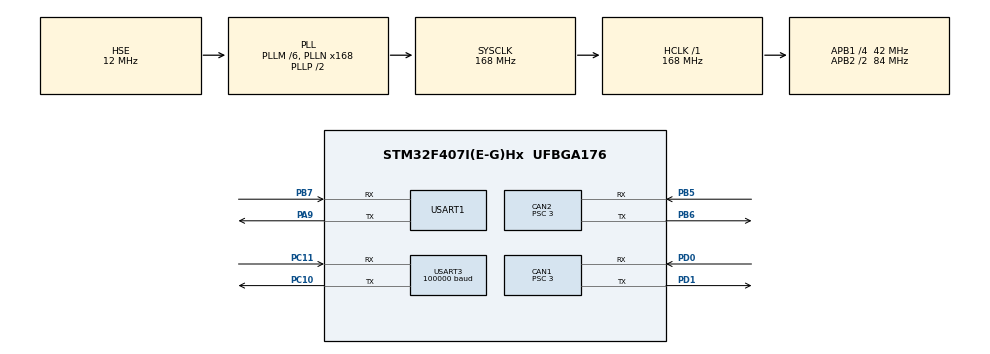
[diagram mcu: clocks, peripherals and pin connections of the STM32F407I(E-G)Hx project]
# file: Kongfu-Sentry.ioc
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CAN1.ABOM=ENABLE
CAN1.BS1=CAN_BS1_10TQ
CAN1.BS2=CAN_BS2_3TQ
CAN1.CalculateBaudRate=1000000
CAN1.CalculateTimeBit=1000
CAN1.CalculateTimeQuantum=71.42857142857143
CAN1.Prescaler=3
CAN2.BS1=CAN_BS1_10TQ
CAN2.BS2=CAN_BS2_3TQ
CAN2.CalculateBaudRate=1000000
CAN2.CalculateTimeBit=1000
CAN2.CalculateTimeQuantum=71.42857142857143
CAN2.Prescaler=3
Dma.Request0=USART3_RX
Dma.Request1=USART1_TX
Dma.Request2=USART1_RX
Dma.USART1_RX.2.Direction=DMA_PERIPH_TO_MEMORY
Dma.USART1_RX.2.FIFOMode=DMA_FIFOMODE_DISABLE
Dma.USART1_RX.2.Instance=DMA2_Stream2
Dma.USART1_RX.2.MemDataAlignment=DMA_MDATAALIGN_BYTE
Dma.USART1_RX.2.MemInc=DMA_MINC_ENABLE
Dma.USART1_RX.2.Mode=DMA_NORMAL
Dma.USART1_RX.2.PeriphDataAlignment=DMA_PDATAALIGN_BYTE
Dma.USART1_RX.2.PeriphInc=DMA_PINC_DISABLE
Dma.USART1_RX.2.Priority=DMA_PRIORITY_LOW
Dma.USART1_TX.1.Direction=DMA_MEMORY_TO_PERIPH
Dma.USART1_TX.1.FIFOMode=DMA_FIFOMODE_DISABLE
Dma.USART1_TX.1.Instance=DMA2_Stream7
Dma.USART1_TX.1.MemDataAlignment=DMA_MDATAALIGN_BYTE
Dma.USART1_TX.1.MemInc=DMA_MINC_ENABLE
Dma.USART1_TX.1.Mode=DMA_NORMAL
Dma.USART1_TX.1.PeriphDataAlignment=DMA_PDATAALIGN_BYTE
Dma.USART1_TX.1.PeriphInc=DMA_PINC_DISABLE
Dma.USART1_TX.1.Priority=DMA_PRIORITY_LOW
Dma.USART3_RX.0.Direction=DMA_PERIPH_TO_MEMORY
Dma.USART3_RX.0.FIFOMode=DMA_FIFOMODE_DISABLE
Dma.USART3_RX.0.Instance=DMA1_Stream1
Dma.USART3_RX.0.MemDataAlignment=DMA_MDATAALIGN_BYTE
Dma.USART3_RX.0.MemInc=DMA_MINC_ENABLE
Dma.USART3_RX.0.Mode=DMA_NORMAL
Dma.USART3_RX.0.PeriphDataAlignment=DMA_PDATAALIGN_BYTE
Dma.USART3_RX.0.PeriphInc=DMA_PINC_DISABLE
Dma.USART3_RX.0.Priority=DMA_PRIORITY_HIGH
Mcu.Family=STM32F4
Mcu.Name=STM32F407I(E-G)Hx
Mcu.Package=UFBGA176
NVIC.CAN1_RX0_IRQn=true\:0\:0\:false\:false\:true\:true\:true\:true
NVIC.CAN2_RX0_IRQn=true\:0\:0\:false\:false\:true\:true\:true\:true
NVIC.DMA1_Stream1_IRQn=true\:0\:0\:false\:false\:true\:false\:true\:true
NVIC.DMA2_Stream2_IRQn=true\:0\:0\:false\:false\:true\:false\:true\:true
NVIC.DMA2_Stream7_IRQn=true\:0\:0\:false\:false\:true\:false\:true\:true
NVIC.PriorityGroup=NVIC_PRIORITYGROUP_4
NVIC.USART1_IRQn=true\:0\:0\:false\:false\:true\:false\:true\:true
NVIC.USART3_IRQn=true\:0\:0\:false\:false\:true\:true\:true\:true
PA13.Mode=Serial_Wire
PA13.Signal=SYS_JTMS-SWDIO
PA14.Mode=Serial_Wire
PA14.Signal=SYS_JTCK-SWCLK
PA9.Mode=Asynchronous
PA9.Signal=USART1_TX
PB5.Mode=CAN_Activate
PB5.Signal=CAN2_RX
PB6.Mode=CAN_Activate
PB6.Signal=CAN2_TX
PB7.Mode=Asynchronous
PB7.Signal=USART1_RX
PC10.Mode=Asynchronous
PC10.Signal=USART3_TX
PC11.Mode=Asynchronous
PC11.Signal=USART3_RX
PD0.Mode=CAN_Activate
PD0.Signal=CAN1_RX
PD1.Mode=CAN_Activate
PD1.Signal=CAN1_TX
PH0-OSC_IN.Mode=HSE-External-Oscillator
PH0-OSC_IN.Signal=RCC_OSC_IN
PH1-OSC_OUT.Mode=HSE-External-Oscillator
PH1-OSC_OUT.Signal=RCC_OSC_OUT
ProjectManager.HeapSize=0x200
ProjectManager.StackSize=0x400
ProjectManager.TargetToolchain=MDK-ARM V5.32
RCC.48MHZClocksFreq_Value=84000000
RCC.AHBFreq_Value=168000000
RCC.APB1CLKDivider=RCC_HCLK_DIV4
RCC.APB1Freq_Value=42000000
RCC.APB1TimFreq_Value=84000000
RCC.APB2CLKDivider=RCC_HCLK_DIV2
RCC.APB2Freq_Value=84000000
RCC.APB2TimFreq_Value=168000000
RCC.CortexFreq_Value=168000000
RCC.HCLKFreq_Value=168000000
RCC.HSE_VALUE=12000000
RCC.HSI_VALUE=16000000
RCC.LSE_VALUE=32768
RCC.PLLM=6
RCC.PLLN=168
RCC.PLLSourceVirtual=RCC_PLLSOURCE_HSE
RCC.SYSCLKFreq_VALUE=168000000
RCC.SYSCLKSource=RCC_SYSCLKSOURCE_PLLCLK
RCC.VCOOutputFreq_Value=336000000
USART1.VirtualMode=VM_ASYNC
USART3.BaudRate=100000
USART3.Parity=PARITY_EVEN
USART3.StopBits=STOPBITS_2
USART3.VirtualMode=VM_ASYNC
USART3.WordLength=WORDLENGTH_9B
board=custom

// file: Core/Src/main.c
/* USER CODE BEGIN Header */
/**
  ******************************************************************************
  * @file           : main.c
  * @brief          : Main program body
  ******************************************************************************
  * @attention
  *
  * Copyright (c) 2024 STMicroelectronics.
  * All rights reserved.
  *
  * This software is licensed under terms that can be found in the LICENSE file
  * in the root directory of this software component.
  * If no LICENSE file comes with this software, it is provided AS-IS.
  *
  ******************************************************************************
  */
/* USER CODE END Header */
#include "main.h"
#include "can.h"
#include "dma.h"
#include "usart.h"
#include "gpio.h"

/* USER CODE BEGIN Includes */
#include "bsp_can.h"
#include "1_Middleware/1_Driver/CAN/drv_CAN_receive.h"
#include "1_Middleware/1_Driver/UART/drv_uart.h"
#include "2_Device/Serialplot/dvc_serialplot.h"
#include "1_Middleware/1_Driver/BSP/drv_bsp.h"
#include "1_Middleware/2_Algorithm/PID/alg_pid.h"

#include "2_Device/Remote_Control/remote_control.h"
#include "2_Device/Motor/dvc_motor.h"
#include "bsp_usart.h"
#include <stdio.h>
#include <stdarg.h>
#include "string.h"
/* USER CODE END Includes */

/* USER CODE BEGIN PV */
//uint8_t hello[5] = "hello";
extern uint8_t sbus_rx_buf[2][SBUS_RX_BUF_NUM];
Class_Serialplot serialplot;
Class_PID pid_omega;
Class_PID pid_omega_1;
Class_PID pid_omega_2;
Class_PID pid_omega_3;

// PID 角度环控制
Class_PID PID_Angle;
// PID 速度环控制
Class_PID PID_Omega;
// PID电流环控制
Class_PID PID_Current;

// 实例化电机
Class_Motor_GM6020  Motor_Pitch;
Class_Motor_GM6020  Motor_Yaw;
Class_Motor_DJI_C610 Motor_Driver;
Class_Motor_DJI_C620 Motor_Friction_Left;
Class_Motor_DJI_C620 Motor_Friction_Right;

float Rx_Omega[4];
float Rx_Torque[4];
float Rx_Encoder[4];
float Rx_Temperature[4];

float Now_Omega_0, Target_Omega_0;
float Now_Omega_1, Target_Omega_1;
float Now_Omega_2, Target_Omega_2;
float Now_Omega_3, Target_Omega_3;
float Now_Angle, Target_Angle;

float Target_Omega_c0, Target_Omega_c1, Target_Omega_c2, Target_Omega_c3;
float vx_set, vy_set, omega_set;
uint32_t Counter = 0;
int32_t Output_val_yaw, Output_val_pitch, Output_val_driver, Output_val_2,Output_val_3;
int32_t Output_val_friction_left, Output_val_friction_right;

float test_val = 0;
float Right_X, Right_Y, Left_X, Left_Y, Switch_1;
// 摇杆偏移量
float Rocker_Offset = 1011.0f;
// 开关偏移量
float Switch_Offset = 240.0f;
// 摇杆总刻度
float Rocker_Num = 783.5f;
// 开关总刻度
float Switch_Num = 1567.0f;
//地盘最大速度
float velocity_x_max = 10;
float velocity_y_max = 10;
float omega_max = 0.07;
float r_wheel_to_core = 228.73f;

// pitch轴最小值
float Min_Pitch_Angle = -0.50f;
// pitch轴最大值
float Max_Pitch_Angle = 0.5f;

// yaw轴目标角度
float Target_Yaw_Angle;

// pitch轴目标角度
float Target_Pitch_Angle;

extern float Current_To_Out;

const motor_measure_t *pitch_gimbal_motor_measure;
const motor_measure_t *yaw_gimbal_motor_measure;
const motor_measure_t *Motor_Driver_measure;
const motor_measure_t *frictoin_motor_measure_left;
const motor_measure_t *frictoin_motor_measure_right;

int16_t delta_encoder_yaw;
int16_t delta_encoder_pitch;
int16_t delta_encoder1;

uint16_t Encoder_Num_Per_Round = 8192;

int32_t Encoder_Offset = -3111;

float RPM_TO_RAD = 2.0f * PI / 60.0f;
float GEAR_RATE = 36.0f;
float GEAR_RATE_Friction = 3591.0f / 187.0f;

// 拨弹盘真实每秒子弹数
float Now_Ammo_Shoot_Frequency = 5.0f;

// 拨弹盘一圈子弹数
float Ammo_Num_Per_Round = 8.0f;

// 摩擦轮角速度
float Friction_Omega = 6.0f;

static char Variable_Assignment_List[][SERIALPLOT_RX_VARIABLE_ASSIGNMENT_MAX_LENGTH] = {
  "po",

	"po1",

	"po2",

	"po3",

};
/* USER CODE END PV */

void SystemClock_Config(void);

/* USER CODE BEGIN 0 */
const RC_ctrl_t *local_rc_ctrl;

void usart_printf(const char *fmt,...)
{
    static uint8_t tx_buf[256] = {0};
    static va_list ap;
    static uint16_t len;
    va_start(ap, fmt);

    //return length of string
    len = vsprintf((char *)tx_buf, fmt, ap);

    va_end(ap);

		HAL_UART_Transmit_DMA(&huart1, tx_buf, len);

}

void UART_Serialplot_Call_Back(uint8_t *Buffer, uint16_t Length)
{
  serialplot.UART_RxCpltCallback(Buffer);
  switch (serialplot.Get_Variable_Index())
  {
    case(0):
    {
      PID_Omega.Set_K_P(serialplot.Get_Variable_Value());
    }
    break;
		case(1):
    {
      pid_omega_1.Set_K_P(serialplot.Get_Variable_Value());
    }
    break;
		case(2):
    {
      pid_omega_2.Set_K_P(serialplot.Get_Variable_Value());
    }
    break;
		case(3):
    {
      pid_omega_3.Set_K_P(serialplot.Get_Variable_Value());
    }
    break;
  }

}

/* USER CODE END 0 */

int main(void)
{

  /* MCU Configuration--------------------------------------------------------*/

  /* Reset of all peripherals, Initializes the Flash interface and the Systick. */
  HAL_Init();

  /* Configure the system clock */
  SystemClock_Config();

  /* Initialize all configured peripherals */
  MX_GPIO_Init();
  MX_DMA_Init();
  MX_USART1_UART_Init();
  MX_USART3_UART_Init();
  MX_CAN1_Init();
  MX_CAN2_Init();
  /* USER CODE BEGIN 2 */
	  can_filter_init();
		UART_Init(&huart1, UART_Serialplot_Call_Back, SERIALPLOT_RX_VARIABLE_ASSIGNMENT_MAX_LENGTH);
    //PID_Omega.Init(0.03f, 0.3f, 0.0f, 0.0f, 3.0f, 3.0f);

		serialplot.Init(&huart1, 12, (char **)Variable_Assignment_List);

		remote_control_init();
    usart1_tx_dma_init();
		local_rc_ctrl = get_remote_control_point();

		// 电机初始化
		Motor_Pitch.Init(&hcan1, Motor_DJI_Control_Method_ANGLE, 25000 ,16384);
		Motor_Yaw.Init(&hcan1, Motor_DJI_Control_Method_ANGLE, 25000 ,16384);
    Motor_Driver.Init(&hcan1, Motor_DJI_Control_Method_OMEGA, GEAR_RATE ,16384);
    Motor_Friction_Left.Init(&hcan1, Motor_DJI_Control_Method_OMEGA, 0, 20);
    Motor_Friction_Right.Init(&hcan1, Motor_DJI_Control_Method_OMEGA, 0, 20);
		// PID初始化
		Motor_Yaw.PID_Angle.Init(7.0f, 0.0f, 0.0f, 0.0f, 2.0f * PI, 2.0f * PI);
    Motor_Yaw.PID_Omega.Init(0.366f, 0.916f, 0.0f, 0.0f, 3.0f, 3.0f);

    Motor_Pitch.PID_Angle.Init(7.0f, 0.0f, 0.0f, 0.0f, 2.0f * PI, 2.0f * PI);
    Motor_Pitch.PID_Omega.Init(0.366f, 0.916f, 0.0f, 0.0f, 3.0f, 3.0f);
    Motor_Driver.PID_Angle.Init(50.0f, 0.0f, 0.0f, 0.0f, 2.0f * PI, 2.0f * PI);
    Motor_Driver.PID_Omega.Init(3.40f, 200.0f, 0.0f, 0.0f, 10.0f, 10.0f);
    Motor_Friction_Left.PID_Omega.Init(0.15f, 0.3f, 0.002f, 0.0f, 10.0f, 10.0f);
    Motor_Friction_Right.PID_Omega.Init(0.15f, 0.3f, 0.002f, 0.0f, 10.0f, 10.0f);

  /* USER CODE END 2 */

  /* Infinite loop */
  while (1)
  {

    /* USER CODE BEGIN 3 */

		/*从遥控器读取数据*/
		Right_X = (local_rc_ctrl->rc.ch[0] -  Rocker_Offset) / Rocker_Num; /* 右侧左右 */
		Right_Y = (local_rc_ctrl->rc.ch[1] -  Rocker_Offset) / Rocker_Num; /* 右侧上下 */
		Left_Y = (local_rc_ctrl->rc.ch[2] -  Rocker_Offset) / Rocker_Num; /* 左侧上下 */
		Left_X = (local_rc_ctrl->rc.ch[3] -  Rocker_Offset) / Rocker_Num; /* 左侧左右 */
    Switch_1 = (local_rc_ctrl->rc.ch[4] - Switch_Offset) / Switch_Num;

		Counter++;
		// Target_Omega_0 = 10 * sin(6.0f * Counter / 1000.0f);
//		Motor_Yaw.Target_Omega = Target_Omega_0;
		// Motor_Yaw.Set_Target_Angle(PI * sin(2.0f * Counter / 1000.0f));
		Target_Yaw_Angle = (PI/2) * sin(2.0f * Counter / 1000.0f);
		float tmp_delta_angle = Target_Yaw_Angle - Motor_Yaw.Rx_Data.Now_Angle;
		Target_Yaw_Angle = Motor_Yaw.Get_Now_Angle() + tmp_delta_angle;
    Target_Pitch_Angle = Left_Y*Max_Pitch_Angle;
    Math_Constrain(&Target_Pitch_Angle, Min_Pitch_Angle, Max_Pitch_Angle);
    // float tmp_delta_angle = Target_Pitch_Angle - Motor_Pitch.Rx_Data.Now_Angle;
    // Target_Pitch_Angle = -Motor_Pitch.Get_Now_Angle() + tmp_delta_angle;
		Motor_Pitch.Set_Target_Angle(Target_Pitch_Angle);
		Motor_Yaw.Set_Target_Angle(Target_Yaw_Angle);
		// Motor_Driver.Set_Target_Angle(Motor_Driver.Get_Now_Angle() + 2.0f * PI / 8.0f);
		Motor_Driver.Set_Target_Omega(-(Now_Ammo_Shoot_Frequency * 2.0f * PI / Ammo_Num_Per_Round));
    Motor_Friction_Left.Set_Target_Omega(-Friction_Omega);
    Motor_Friction_Right.Set_Target_Omega(Friction_Omega);

			/*读取电机数据*/
		pitch_gimbal_motor_measure = get_pitch_gimbal_motor_measure_point();
    yaw_gimbal_motor_measure = get_yaw_gimbal_motor_measure_point();
    Motor_Driver_measure = get_trigger_motor_measure_point();
    frictoin_motor_measure_left = get_chassis_motor_measure_point(0);
    frictoin_motor_measure_right = get_chassis_motor_measure_point(1);

    /*写入电机数据*/
    //		Now_Omega_0 = gimbal_motor_measure->speed_rpm * 2.0f * PI / 60.0f;
		Now_Omega_1 = yaw_gimbal_motor_measure->speed_rpm;
		Now_Omega_2 = pitch_gimbal_motor_measure->speed_rpm;

		Now_Omega_0 = Motor_Driver_measure->speed_rpm * RPM_TO_RAD / GEAR_RATE;
		Motor_Driver.Rx_Data.Now_Omega = Now_Omega_0;

    Motor_Friction_Left.Rx_Data.Now_Omega = frictoin_motor_measure_left->speed_rpm * RPM_TO_RAD / GEAR_RATE_Friction;
    Motor_Friction_Right.Rx_Data.Now_Omega = frictoin_motor_measure_right->speed_rpm * RPM_TO_RAD / GEAR_RATE_Friction;

		delta_encoder_pitch = pitch_gimbal_motor_measure->ecd - pitch_gimbal_motor_measure->last_ecd;
		delta_encoder_yaw = yaw_gimbal_motor_measure->ecd - yaw_gimbal_motor_measure->last_ecd;
    delta_encoder1 = Motor_Driver_measure->ecd - Motor_Driver_measure->last_ecd;

   if (delta_encoder_yaw < -Encoder_Num_Per_Round / 2)
   {
       // 正方向转过了一圈
       Motor_Yaw.Rx_Data.Total_Round++;
   }
   else if (delta_encoder_yaw > Encoder_Num_Per_Round / 2)
   {
       // 反方向转过了一圈
       Motor_Yaw.Rx_Data.Total_Round--;
   }

   if (delta_encoder_pitch < -Encoder_Num_Per_Round / 2)
   {
       // 正方向转过了一圈
       Motor_Pitch.Rx_Data.Total_Round++;
   }
   else if (delta_encoder_pitch > Encoder_Num_Per_Round / 2)
   {
       // 反方向转过了一圈
       Motor_Pitch.Rx_Data.Total_Round--;
   }

    if (delta_encoder1 < -Encoder_Num_Per_Round / 2)
    {
        // 正方向转过了一圈
        Motor_Driver.Rx_Data.Total_Round++;
    }
    else if (delta_encoder1 > Encoder_Num_Per_Round / 2)
    {
        // 反方向转过了一圈
        Motor_Driver.Rx_Data.Total_Round--;
    }

	Motor_Yaw.Rx_Data.Total_Encoder = Motor_Yaw.Rx_Data.Total_Round * Encoder_Num_Per_Round + yaw_gimbal_motor_measure->ecd + Encoder_Offset;
	Motor_Yaw.Rx_Data.Now_Angle = (float) Motor_Yaw.Rx_Data.Total_Encoder / (float) Encoder_Num_Per_Round * 2.0f * PI;

	Motor_Pitch.Rx_Data.Total_Encoder = Motor_Pitch.Rx_Data.Total_Round * Encoder_Num_Per_Round + pitch_gimbal_motor_measure->ecd + Encoder_Offset;
	Motor_Pitch.Rx_Data.Now_Angle = (float) Motor_Pitch.Rx_Data.Total_Encoder / (float) Encoder_Num_Per_Round * 2.0f * PI;

  Motor_Driver.Rx_Data.Total_Encoder = Motor_Driver.Rx_Data.Total_Round * Encoder_Num_Per_Round + Motor_Driver_measure->ecd;
  Motor_Driver.Rx_Data.Now_Angle = (float) Motor_Driver.Rx_Data.Total_Encoder / (float) Encoder_Num_Per_Round * 2.0f * PI / GEAR_RATE;
     //usart_printf("%f", Motor_Driver.Rx_Data.Now_Angle);

    /*计算输入电流值（PID）*/
	Motor_Yaw.PID_Calculate();
  Motor_Pitch.PID_Calculate();
  Motor_Driver.PID_Calculate();
  Motor_Friction_Left.PID_Calculate();
  Motor_Friction_Right.PID_Calculate();

	/*输出电流*/
	Output_val_yaw = Motor_Yaw.Out;
	Output_val_pitch = Motor_Pitch.Out;
	Output_val_driver = Motor_Driver.Out;
	Output_val_friction_left = Motor_Friction_Left.Out;
	Output_val_friction_right = Motor_Friction_Right.Out;

	/*画出目标角度和电机转速*/
	serialplot.Set_Data(3, &Motor_Pitch.Rx_Data,Now_Angle, &Motor_Pitch.Rx_Data,Now_Angle, &Motor_Yaw.Out);
	serialplot.TIM_Write_PeriodElapsedCallback();
	TIM_UART_PeriodElapsedCallback();

	CAN_cmd_gimbal(Output_val_yaw, 0, 0, 0);
  // if (Switch_1 == 1)
  // {
  //   CAN_cmd_chassis(Output_val_friction_left, Output_val_friction_right, 0, 0);
  //   CAN_cmd_gimbal(0, Output_val_pitch, Output_val_driver, 0);
  // }
  // else if (Switch_1 == 0)
  // {
  //   CAN_cmd_chassis(0, 0, 0, 0);
  //   CAN_cmd_gimbal(0, Output_val_pitch, 0, 0);
  // }

	HAL_Delay(1);
  }
  /* USER CODE END 3 */
}

void SystemClock_Config(void)
{
  RCC_OscInitTypeDef RCC_OscInitStruct = {0};
  RCC_ClkInitTypeDef RCC_ClkInitStruct = {0};

  /** Configure the main internal regulator output voltage
  */
  __HAL_RCC_PWR_CLK_ENABLE();
  __HAL_PWR_VOLTAGESCALING_CONFIG(PWR_REGULATOR_VOLTAGE_SCALE1);

  /** Initializes the RCC Oscillators according to the specified parameters
  * in the RCC_OscInitTypeDef structure.
  */
  RCC_OscInitStruct.OscillatorType = RCC_OSCILLATORTYPE_HSE;
  RCC_OscInitStruct.HSEState = RCC_HSE_ON;
  RCC_OscInitStruct.PLL.PLLState = RCC_PLL_ON;
  RCC_OscInitStruct.PLL.PLLSource = RCC_PLLSOURCE_HSE;
  RCC_OscInitStruct.PLL.PLLM = 6;
  RCC_OscInitStruct.PLL.PLLN = 168;
  RCC_OscInitStruct.PLL.PLLP = RCC_PLLP_DIV2;
  RCC_OscInitStruct.PLL.PLLQ = 4;
  if (HAL_RCC_OscConfig(&RCC_OscInitStruct) != HAL_OK)
  {
    Error_Handler();
  }

  /** Initializes the CPU, AHB and APB buses clocks
  */
  RCC_ClkInitStruct.ClockType = RCC_CLOCKTYPE_HCLK|RCC_CLOCKTYPE_SYSCLK
                              |RCC_CLOCKTYPE_PCLK1|RCC_CLOCKTYPE_PCLK2;
  RCC_ClkInitStruct.SYSCLKSource = RCC_SYSCLKSOURCE_PLLCLK;
  RCC_ClkInitStruct.AHBCLKDivider = RCC_SYSCLK_DIV1;
  RCC_ClkInitStruct.APB1CLKDivider = RCC_HCLK_DIV4;
  RCC_ClkInitStruct.APB2CLKDivider = RCC_HCLK_DIV2;

  if (HAL_RCC_ClockConfig(&RCC_ClkInitStruct, FLASH_LATENCY_5) != HAL_OK)
  {
    Error_Handler();
  }
}

void Error_Handler(void)
{
  __disable_irq();
  while (1)
  {
  }
}
